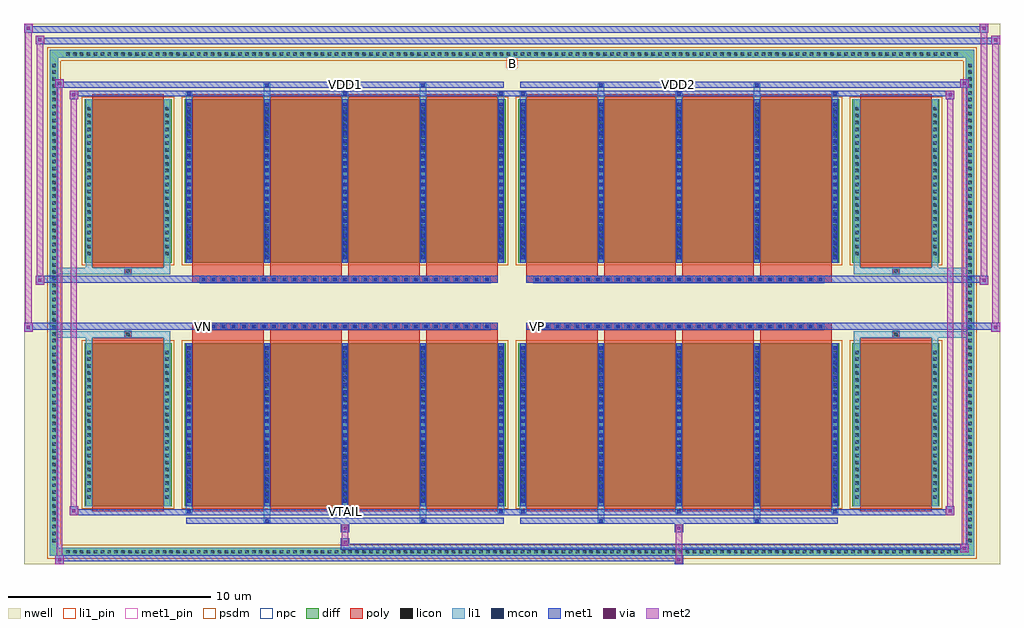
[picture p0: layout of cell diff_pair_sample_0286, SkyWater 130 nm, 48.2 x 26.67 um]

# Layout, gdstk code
import gdstk
lib = gdstk.Library(unit=1e-6, precision=5e-09)
def R(c, l, rs):  # rectangles x0, y0, x1, y1
    for r in rs: c.add(gdstk.rectangle(r[:2], r[2:], *l))
def A(c, l, x, y, w, h, nx, ny, dx, dy):  # array of equal rectangles
    R(c, l, [(x+i*dx, y+j*dy, x+i*dx+w, y+j*dy+h) for i in range(nx) for j in range(ny)])
def P(c, l, *ps):  # polygons
    for p in ps: c.add(gdstk.Polygon(p, *l))
nwell = (64, 20)
diff = (65, 20)
poly = (66, 20)
licon = (66, 44)
li1_pin = (67, 16)
li1 = (67, 20)
mcon = (67, 44)
met1_pin = (68, 16)
met1 = (68, 20)
via = (68, 44)
met2 = (69, 20)
psdm = (94, 20)
npc = (95, 20)

diff_pair_sample_0286 = lib.new_cell('diff_pair_sample_0286')
R(diff_pair_sample_0286, nwell, [(-24.1,-12.9,24.1,13.77), (-21.42,-11.09,-0.01,-0.795), (0.01,-11.09,21.42,-0.795), (-21.42,0.795,-0.01,11.09), (0.01,0.795,21.42,11.09)])
A(diff_pair_sample_0286, diff, -22.135, -12.5, 0.41, 0.41, 130, 2, 0.34, 24.59)
A(diff_pair_sample_0286, diff, -22.83, -11.935, 0.41, 0.41, 1, 70, 0, 0.34)
A(diff_pair_sample_0286, diff, 22.42, -11.935, 0.41, 0.41, 1, 70, 0, 0.34)
R(diff_pair_sample_0286, diff, [(-22.135,-12.5,22.135,-12.09), (-22.83,-11.935,-22.42,11.935), (22.42,-11.935,22.83,11.935), (-21.11,-10.045,-16.81,-1.985), (-16.17,-10.045,-0.32,-1.985), (0.32,-10.045,16.17,-1.985), (16.81,-10.045,21.11,-1.985), (-21.11,1.985,-16.81,10.045), (-16.17,1.985,-0.32,10.045), (0.32,1.985,16.17,10.045), (16.81,1.985,21.11,10.045), (-22.135,12.09,22.135,12.5)])
P(diff_pair_sample_0286, diff, [(22.83,12.5),(-22.83,12.5),(-22.83,-12.09),(-22.42,-12.09),(-22.42,12.09),(22.42,12.09),(22.42,-12.09),(-22.42,-12.09),(-22.83,-12.09),(-22.83,-12.5),(22.83,-12.5)])
A(diff_pair_sample_0286, poly, -15.78, -10.295, 3.52, 8.56, 4, 2, 3.85, 12.03)
A(diff_pair_sample_0286, poly, 0.71, -10.295, 3.52, 8.56, 4, 2, 3.85, 12.03)
A(diff_pair_sample_0286, poly, -15.78, -1.735, 3.52, 0.41, 4, 2, 3.85, 3.06)
A(diff_pair_sample_0286, poly, 0.71, -1.735, 3.52, 0.41, 4, 2, 3.85, 3.06)
A(diff_pair_sample_0286, poly, -15.41, -1.325, 0.33, 0.33, 29, 2, 0.5, 2.32)
A(diff_pair_sample_0286, poly, 1.08, -1.325, 0.33, 0.33, 29, 2, 0.5, 2.32)
R(diff_pair_sample_0286, poly, [(-20.72,-10.295,-17.2,-1.735), (17.2,-10.295,20.72,-1.735), (-19.125,-1.735,-18.795,-1.405), (-19.125,-1.735,-18.795,-1.405), (18.795,-1.735,19.125,-1.405), (18.795,-1.735,19.125,-1.405), (-15.78,-1.325,-0.71,-0.995), (0.71,-1.325,15.78,-0.995), (-15.78,0.995,-0.71,1.325), (0.71,0.995,15.78,1.325), (-19.125,1.405,-18.795,1.735), (-19.125,1.405,-18.795,1.735), (18.795,1.405,19.125,1.735), (18.795,1.405,19.125,1.735), (-20.72,1.735,-17.2,10.295), (17.2,1.735,20.72,10.295)])
A(diff_pair_sample_0286, licon, -22.015, -12.38, 0.17, 0.17, 130, 2, 0.34, 24.59)
A(diff_pair_sample_0286, licon, -22.71, -11.815, 0.17, 0.17, 1, 70, 0, 0.34)
A(diff_pair_sample_0286, licon, 22.54, -11.815, 0.17, 0.17, 1, 70, 0, 0.34)
A(diff_pair_sample_0286, licon, -20.97, -9.67, 0.17, 0.17, 1, 22, 0, 0.34)
A(diff_pair_sample_0286, licon, -17.12, -9.67, 0.17, 0.17, 1, 22, 0, 0.34)
A(diff_pair_sample_0286, licon, -16.03, -9.67, 0.17, 0.17, 5, 22, 3.85, 0.34)
A(diff_pair_sample_0286, licon, 0.46, -9.67, 0.17, 0.17, 5, 22, 3.85, 0.34)
A(diff_pair_sample_0286, licon, 16.95, -9.67, 0.17, 0.17, 1, 22, 0, 0.34)
A(diff_pair_sample_0286, licon, 20.8, -9.67, 0.17, 0.17, 1, 22, 0, 0.34)
A(diff_pair_sample_0286, licon, -15.33, -1.245, 0.17, 0.17, 29, 2, 0.5, 2.32)
A(diff_pair_sample_0286, licon, 1.16, -1.245, 0.17, 0.17, 29, 2, 0.5, 2.32)
A(diff_pair_sample_0286, licon, -20.97, 2.36, 0.17, 0.17, 1, 22, 0, 0.34)
A(diff_pair_sample_0286, licon, -17.12, 2.36, 0.17, 0.17, 1, 22, 0, 0.34)
A(diff_pair_sample_0286, licon, -16.03, 2.36, 0.17, 0.17, 5, 22, 3.85, 0.34)
A(diff_pair_sample_0286, licon, 0.46, 2.36, 0.17, 0.17, 5, 22, 3.85, 0.34)
A(diff_pair_sample_0286, licon, 16.95, 2.36, 0.17, 0.17, 1, 22, 0, 0.34)
A(diff_pair_sample_0286, licon, 20.8, 2.36, 0.17, 0.17, 1, 22, 0, 0.34)
R(diff_pair_sample_0286, licon, [(-19.045,-1.655,-18.875,-1.485), (18.875,-1.655,19.045,-1.485), (-19.045,1.485,-18.875,1.655), (18.875,1.485,19.045,1.655)])
R(diff_pair_sample_0286, li1_pin, [(-0.25,11.59,0.25,12.09)])
A(diff_pair_sample_0286, li1, -22.095, -12.46, 0.33, 0.33, 130, 2, 0.34, 24.59)
A(diff_pair_sample_0286, li1, -22.79, -11.895, 0.33, 0.33, 1, 70, 0, 0.34)
A(diff_pair_sample_0286, li1, 22.46, -11.895, 0.33, 0.33, 1, 70, 0, 0.34)
A(diff_pair_sample_0286, li1, -16.11, -10.42, 0.33, 0.375, 3, 2, 7.7, 20.465)
A(diff_pair_sample_0286, li1, -16.03, -10.42, 0.17, 0.17, 3, 2, 7.7, 20.67)
A(diff_pair_sample_0286, li1, 0.38, -10.42, 0.33, 0.375, 3, 2, 7.7, 20.465)
A(diff_pair_sample_0286, li1, 0.46, -10.42, 0.17, 0.17, 3, 2, 7.7, 20.67)
A(diff_pair_sample_0286, li1, -16.11, -10.045, 0.33, 8.06, 5, 2, 3.85, 12.03)
A(diff_pair_sample_0286, li1, 0.38, -10.045, 0.33, 8.06, 5, 2, 3.85, 12.03)
A(diff_pair_sample_0286, li1, -16.03, -9.88, 0.17, 0.17, 5, 22, 3.85, 0.36)
A(diff_pair_sample_0286, li1, -16.03, -9.88, 0.17, 7.73, 5, 2, 3.85, 12.03)
A(diff_pair_sample_0286, li1, 0.46, -9.88, 0.17, 0.17, 5, 22, 3.85, 0.36)
A(diff_pair_sample_0286, li1, 0.46, -9.88, 0.17, 7.73, 5, 2, 3.85, 12.03)
A(diff_pair_sample_0286, li1, -21.05, -9.75, 0.33, 0.33, 1, 22, 0, 0.34)
A(diff_pair_sample_0286, li1, -17.2, -9.75, 0.33, 0.33, 1, 22, 0, 0.34)
A(diff_pair_sample_0286, li1, -16.11, -9.75, 0.33, 0.33, 5, 22, 3.85, 0.34)
A(diff_pair_sample_0286, li1, 0.38, -9.75, 0.33, 0.33, 5, 22, 3.85, 0.34)
A(diff_pair_sample_0286, li1, 16.87, -9.75, 0.33, 0.33, 1, 22, 0, 0.34)
A(diff_pair_sample_0286, li1, 20.72, -9.75, 0.33, 0.33, 1, 22, 0, 0.34)
A(diff_pair_sample_0286, li1, -15.41, -1.325, 0.33, 0.33, 29, 2, 0.5, 2.32)
A(diff_pair_sample_0286, li1, 1.08, -1.325, 0.33, 0.33, 29, 2, 0.5, 2.32)
A(diff_pair_sample_0286, li1, -16.03, 2.15, 0.17, 0.17, 5, 22, 3.85, 0.36)
A(diff_pair_sample_0286, li1, 0.46, 2.15, 0.17, 0.17, 5, 22, 3.85, 0.36)
A(diff_pair_sample_0286, li1, -21.05, 2.28, 0.33, 0.33, 1, 22, 0, 0.34)
A(diff_pair_sample_0286, li1, -17.2, 2.28, 0.33, 0.33, 1, 22, 0, 0.34)
A(diff_pair_sample_0286, li1, -16.11, 2.28, 0.33, 0.33, 5, 22, 3.85, 0.34)
A(diff_pair_sample_0286, li1, 0.38, 2.28, 0.33, 0.33, 5, 22, 3.85, 0.34)
A(diff_pair_sample_0286, li1, 16.87, 2.28, 0.33, 0.33, 1, 22, 0, 0.34)
A(diff_pair_sample_0286, li1, 20.72, 2.28, 0.33, 0.33, 1, 22, 0, 0.34)
R(diff_pair_sample_0286, li1, [(-22.83,-12.5,-22.42,-12.09), (-22.83,-12.5,-22.42,-12.09), (-22.42,-12.5,22.42,-12.09), (22.42,-12.5,22.83,-12.09), (22.42,-12.5,22.83,-12.09), (-22.83,-12.09,-22.42,12.09), (22.42,-12.09,22.83,12.09), (-12.26,-10.85,-11.93,-10.045), (-12.18,-10.85,-12.01,-10.68), (-4.56,-10.85,-4.23,-10.045), (-4.48,-10.85,-4.31,-10.68), (4.23,-10.85,4.56,-10.045), (4.31,-10.85,4.48,-10.68), (11.93,-10.85,12.26,-10.045), (12.01,-10.85,12.18,-10.68), (-21.05,-10.045,-20.72,-1.985), (-17.2,-10.045,-16.87,-1.985), (16.87,-10.045,17.2,-1.985), (20.72,-10.045,21.05,-1.985), (-21.05,-1.985,-20.72,-1.405), (-17.2,-1.985,-16.87,-1.405), (16.87,-1.985,17.2,-1.405), (20.72,-1.985,21.05,-1.405), (-22.83,-1.735,-19.125,-1.405), (-21.05,-1.735,-19.125,-1.405), (-19.125,-1.735,-18.795,-1.405), (-18.795,-1.735,-16.87,-1.405), (16.87,-1.735,18.795,-1.405), (18.795,-1.735,19.125,-1.405), (18.795,-1.735,22.83,-1.405), (19.125,-1.735,21.05,-1.405), (-22.83,1.405,-19.125,1.735), (-21.05,1.405,-19.125,1.735), (-21.05,1.405,-20.72,1.985), (-19.125,1.405,-18.795,1.735), (-18.795,1.405,-16.87,1.735), (-17.2,1.405,-16.87,1.985), (16.87,1.405,18.795,1.735), (16.87,1.405,17.2,1.985), (18.795,1.405,19.125,1.735), (18.795,1.405,22.83,1.735), (19.125,1.405,21.05,1.735), (20.72,1.405,21.05,1.985), (-21.05,1.985,-20.72,10.045), (-17.2,1.985,-16.87,10.045), (16.87,1.985,17.2,10.045), (20.72,1.985,21.05,10.045), (-12.26,10.045,-11.93,10.85), (-4.56,10.045,-4.23,10.85), (4.23,10.045,4.56,10.85), (11.93,10.045,12.26,10.85), (-12.18,10.68,-12.01,10.85), (-4.48,10.68,-4.31,10.85), (4.31,10.68,4.48,10.85), (12.01,10.68,12.18,10.85), (-22.83,12.09,-22.42,12.5), (-22.83,12.09,-22.42,12.5), (-22.42,12.09,22.42,12.5), (22.42,12.09,22.83,12.5), (22.42,12.09,22.83,12.5)])
A(diff_pair_sample_0286, mcon, -16.03, -10.42, 0.17, 0.17, 3, 2, 7.7, 20.67)
A(diff_pair_sample_0286, mcon, 0.46, -10.42, 0.17, 0.17, 3, 2, 7.7, 20.67)
A(diff_pair_sample_0286, mcon, -16.03, -9.88, 0.17, 0.17, 5, 22, 3.85, 0.36)
A(diff_pair_sample_0286, mcon, 0.46, -9.88, 0.17, 0.17, 5, 22, 3.85, 0.36)
A(diff_pair_sample_0286, mcon, -15.33, -1.245, 0.17, 0.17, 29, 2, 0.5, 2.32)
A(diff_pair_sample_0286, mcon, 1.16, -1.245, 0.17, 0.17, 29, 2, 0.5, 2.32)
A(diff_pair_sample_0286, mcon, -16.03, 2.15, 0.17, 0.17, 5, 22, 3.85, 0.36)
A(diff_pair_sample_0286, mcon, 0.46, 2.15, 0.17, 0.17, 5, 22, 3.85, 0.36)
R(diff_pair_sample_0286, mcon, [(-12.18,-10.85,-12.01,-10.68), (-4.48,-10.85,-4.31,-10.68), (4.31,-10.85,4.48,-10.68), (12.01,-10.85,12.18,-10.68), (-12.18,10.68,-12.01,10.85), (-4.48,10.68,-4.31,10.85), (4.31,10.68,4.48,10.85), (12.01,10.68,12.18,10.85)])
R(diff_pair_sample_0286, met1_pin, [(-8.38,-10.46,-8.11,-10.19), (-15.38,-1.285,-15.11,-1.015), (1.11,-1.285,1.38,-1.015), (-8.38,10.64,-8.11,10.91), (8.11,10.64,8.38,10.91)])
A(diff_pair_sample_0286, met1, -16.09, -10.48, 0.29, 0.29, 3, 2, 7.7, 20.67)
A(diff_pair_sample_0286, met1, 0.4, -10.48, 0.29, 0.29, 3, 2, 7.7, 20.67)
A(diff_pair_sample_0286, met1, -16.09, -10.045, 0.29, 8.06, 5, 2, 3.85, 12.03)
A(diff_pair_sample_0286, met1, 0.4, -10.045, 0.29, 8.06, 5, 2, 3.85, 12.03)
A(diff_pair_sample_0286, met1, -16.09, -9.94, 0.29, 0.29, 5, 22, 3.85, 0.36)
A(diff_pair_sample_0286, met1, 0.4, -9.94, 0.29, 0.29, 5, 22, 3.85, 0.36)
A(diff_pair_sample_0286, met1, -15.39, -1.305, 0.29, 0.29, 29, 2, 0.5, 2.32)
A(diff_pair_sample_0286, met1, 1.1, -1.305, 0.29, 0.29, 29, 2, 0.5, 2.32)
A(diff_pair_sample_0286, met1, -16.09, 2.09, 0.29, 0.29, 5, 22, 3.85, 0.36)
A(diff_pair_sample_0286, met1, 0.4, 2.09, 0.29, 0.29, 5, 22, 3.85, 0.36)
R(diff_pair_sample_0286, met1, [(-22.56,-12.9,-22.13,-12.47), (8.03,-12.9,8.46,-12.47), (-22.56,-12.76,8.46,-12.47), (22.13,-12.33,22.56,-11.9), (-8.46,-12.19,22.56,-11.9), (-8.46,-12.05,-8.03,-11.62), (-8.46,-11.34,-8.03,-10.91), (8.03,-11.34,8.46,-10.91), (-16.09,-10.91,-0.4,-10.62), (-12.24,-10.91,-11.95,-10.62), (-4.54,-10.91,-4.25,-10.62), (0.4,-10.91,16.09,-10.62), (4.25,-10.91,4.54,-10.62), (11.95,-10.91,12.24,-10.62), (-21.85,-10.48,-21.42,-10.05), (-21.85,-10.48,-16.09,-10.19), (-16.09,-10.48,-0.4,-10.19), (-0.4,-10.48,0.4,-10.19), (0.4,-10.48,16.09,-10.19), (16.09,-10.48,21.85,-10.19), (21.42,-10.48,21.85,-10.05), (-24.1,-1.425,-23.67,-0.995), (23.67,-1.425,24.1,-0.995), (-24.1,-1.325,-0.71,-0.995), (-15.78,-1.325,-0.71,-0.995), (0.71,-1.325,15.78,-0.995), (0.71,-1.325,24.1,-0.995), (-23.53,0.895,-23.1,1.325), (23.1,0.895,23.53,1.325), (-23.53,0.995,-15.78,1.325), (-15.78,0.995,-0.71,1.325), (0.71,0.995,15.78,1.325), (15.78,0.995,23.53,1.325), (-21.85,10.05,-21.42,10.48), (21.42,10.05,21.85,10.48), (-21.85,10.19,-16.09,10.48), (-16.09,10.19,-0.4,10.48), (-0.4,10.19,0.4,10.48), (0.4,10.19,16.09,10.48), (16.09,10.19,21.85,10.48), (-22.56,10.62,-22.13,11.05), (-22.56,10.62,-16.09,10.91), (-16.09,10.62,-0.4,10.91), (-12.24,10.62,-11.95,10.91), (-4.54,10.62,-4.25,10.91), (0.4,10.62,16.09,10.91), (4.25,10.62,4.54,10.91), (11.95,10.62,12.24,10.91), (16.09,10.62,22.56,10.91), (22.13,10.62,22.56,11.05), (-23.53,12.77,-23.1,13.2), (-23.53,12.77,-21.42,13.1), (-21.42,12.77,21.42,13.1), (21.42,12.77,24.1,13.1), (23.67,12.77,24.1,13.2), (-24.1,13.34,-23.67,13.77), (-24.1,13.34,-21.42,13.67), (-21.42,13.34,21.42,13.67), (21.42,13.34,23.53,13.67), (23.1,13.34,23.53,13.77)])
R(diff_pair_sample_0286, via, [(-22.42,-12.76,-22.27,-12.61), (8.17,-12.76,8.32,-12.61), (22.27,-12.19,22.42,-12.04), (-8.32,-11.91,-8.17,-11.76), (-8.32,-11.2,-8.17,-11.05), (8.17,-11.2,8.32,-11.05), (-21.71,-10.34,-21.56,-10.19), (21.56,-10.34,21.71,-10.19), (-23.96,-1.285,-23.81,-1.135), (23.81,-1.285,23.96,-1.135), (-23.39,1.035,-23.24,1.185), (23.24,1.035,23.39,1.185), (-21.71,10.19,-21.56,10.34), (21.56,10.19,21.71,10.34), (-22.42,10.76,-22.27,10.91), (22.27,10.76,22.42,10.91), (-23.39,12.91,-23.24,13.06), (23.81,12.91,23.96,13.06), (-23.96,13.48,-23.81,13.63), (23.24,13.48,23.39,13.63)])
R(diff_pair_sample_0286, met2, [(-22.56,-12.9,-22.13,-12.47), (-22.49,-12.9,-22.2,11.05), (-22.2,-12.9,-22.13,-12.47), (-22.51,-12.85,-22.18,-12.52), (8.08,-12.85,8.41,-12.52), (8.08,-12.52,8.41,-11.29), (22.13,-12.33,22.56,-11.9), (22.2,-12.33,22.49,11.05), (22.49,-12.33,22.56,-11.9), (22.18,-12.28,22.51,-11.95), (-8.41,-12,-8.08,-11.67), (-8.41,-11.67,-8.08,-11.29), (-8.41,-11.29,-8.08,-10.96), (8.08,-11.29,8.41,-10.96), (-21.85,-10.48,-21.42,-10.05), (-21.78,-10.48,-21.49,10.48), (-21.49,-10.48,-21.42,-10.05), (21.42,-10.48,21.85,-10.05), (21.49,-10.48,21.78,10.48), (21.78,-10.48,21.85,-10.05), (-21.8,-10.43,-21.47,-10.1), (21.47,-10.43,21.8,-10.1), (-24.1,-1.425,-23.67,-0.995), (-24.05,-1.425,-23.72,13.77), (-23.72,-1.425,-23.67,-0.995), (23.67,-1.425,24.1,-0.995), (23.72,-1.425,24.05,13.2), (24.05,-1.425,24.1,-0.995), (-24.05,-1.375,-23.72,-1.045), (23.72,-1.375,24.05,-1.045), (-23.53,0.895,-23.1,1.325), (-23.48,0.895,-23.15,13.2), (-23.15,0.895,-23.1,1.325), (23.1,0.895,23.53,1.325), (23.15,0.895,23.48,13.77), (23.48,0.895,23.53,1.325), (-23.48,0.945,-23.15,1.275), (23.15,0.945,23.48,1.275), (-21.85,10.05,-21.42,10.48), (-21.49,10.05,-21.42,10.48), (21.42,10.05,21.85,10.48), (21.78,10.05,21.85,10.48), (-21.8,10.1,-21.47,10.43), (21.47,10.1,21.8,10.43), (-22.56,10.62,-22.13,11.05), (-22.2,10.62,-22.13,11.05), (22.13,10.62,22.56,11.05), (22.49,10.62,22.56,11.05), (-22.51,10.67,-22.18,11), (22.18,10.67,22.51,11), (-23.53,12.77,-23.1,13.2), (-23.15,12.77,-23.1,13.2), (23.67,12.77,24.1,13.2), (24.05,12.77,24.1,13.2), (-23.48,12.82,-23.15,13.15), (23.72,12.82,24.05,13.15), (-24.1,13.34,-23.67,13.77), (-23.72,13.34,-23.67,13.77), (23.1,13.34,23.53,13.77), (23.48,13.34,23.53,13.77), (-24.05,13.39,-23.72,13.72), (23.15,13.39,23.48,13.72)])
R(diff_pair_sample_0286, psdm, [(-21.24,-10.175,-16.68,-1.855), (-16.3,-10.175,-0.19,-1.855), (0.19,-10.175,16.3,-1.855), (16.68,-10.175,21.24,-1.855), (-21.24,1.855,-16.68,10.175), (-16.3,1.855,-0.19,10.175), (0.19,1.855,16.3,10.175), (16.68,1.855,21.24,10.175)])
P(diff_pair_sample_0286, psdm, [(22.96,12.63),(-22.96,12.63),(-22.96,-11.96),(-22.29,-11.96),(-22.29,11.96),(22.29,11.96),(22.29,-11.96),(-22.29,-11.96),(-22.96,-11.96),(-22.96,-12.63),(22.96,-12.63)])
A(diff_pair_sample_0286, npc, -15.43, -1.345, 0.37, 0.37, 29, 2, 0.5, 2.32)
A(diff_pair_sample_0286, npc, 1.06, -1.345, 0.37, 0.37, 29, 2, 0.5, 2.32)
R(diff_pair_sample_0286, npc, [(-19.145,-1.755,-18.775,-1.385), (18.775,-1.755,19.145,-1.385), (-15.43,-1.345,-14.56,-0.975), (-15.43,-1.345,-14.56,-0.975), (-14.93,-1.345,-14.06,-0.975), (-14.93,-1.345,-14.06,-0.975), (-14.43,-1.345,-13.56,-0.975), (-14.43,-1.345,-13.56,-0.975), (-13.93,-1.345,-13.06,-0.975), (-13.93,-1.345,-13.06,-0.975), (-13.43,-1.345,-12.56,-0.975), (-13.43,-1.345,-12.56,-0.975), (-12.93,-1.345,-12.06,-0.975), (-12.93,-1.345,-12.06,-0.975), (-12.43,-1.345,-11.56,-0.975), (-12.43,-1.345,-11.56,-0.975), (-11.93,-1.345,-11.06,-0.975), (-11.93,-1.345,-11.06,-0.975), (-11.43,-1.345,-10.56,-0.975), (-11.43,-1.345,-10.56,-0.975), (-10.93,-1.345,-10.06,-0.975), (-10.93,-1.345,-10.06,-0.975), (-10.43,-1.345,-9.56,-0.975), (-10.43,-1.345,-9.56,-0.975), (-9.93,-1.345,-9.06,-0.975), (-9.93,-1.345,-9.06,-0.975), (-9.43,-1.345,-8.56,-0.975), (-9.43,-1.345,-8.56,-0.975), (-8.93,-1.345,-8.06,-0.975), (-8.93,-1.345,-8.06,-0.975), (-8.43,-1.345,-7.56,-0.975), (-8.43,-1.345,-7.56,-0.975), (-7.93,-1.345,-7.06,-0.975), (-7.93,-1.345,-7.06,-0.975), (-7.43,-1.345,-6.56,-0.975), (-7.43,-1.345,-6.56,-0.975), (-6.93,-1.345,-6.06,-0.975), (-6.93,-1.345,-6.06,-0.975), (-6.43,-1.345,-5.56,-0.975), (-6.43,-1.345,-5.56,-0.975), (-5.93,-1.345,-5.06,-0.975), (-5.93,-1.345,-5.06,-0.975), (-5.43,-1.345,-4.56,-0.975), (-5.43,-1.345,-4.56,-0.975), (-4.93,-1.345,-4.06,-0.975), (-4.93,-1.345,-4.06,-0.975), (-4.43,-1.345,-3.56,-0.975), (-4.43,-1.345,-3.56,-0.975), (-3.93,-1.345,-3.06,-0.975), (-3.93,-1.345,-3.06,-0.975), (-3.43,-1.345,-2.56,-0.975), (-3.43,-1.345,-2.56,-0.975), (-2.93,-1.345,-2.06,-0.975), (-2.93,-1.345,-2.06,-0.975), (-2.43,-1.345,-1.56,-0.975), (-2.43,-1.345,-1.56,-0.975), (-1.93,-1.345,-1.06,-0.975), (-1.93,-1.345,-1.06,-0.975), (1.06,-1.345,1.93,-0.975), (1.06,-1.345,1.93,-0.975), (1.56,-1.345,2.43,-0.975), (1.56,-1.345,2.43,-0.975), (2.06,-1.345,2.93,-0.975), (2.06,-1.345,2.93,-0.975), (2.56,-1.345,3.43,-0.975), (2.56,-1.345,3.43,-0.975), (3.06,-1.345,3.93,-0.975), (3.06,-1.345,3.93,-0.975), (3.56,-1.345,4.43,-0.975), (3.56,-1.345,4.43,-0.975), (4.06,-1.345,4.93,-0.975), (4.06,-1.345,4.93,-0.975), (4.56,-1.345,5.43,-0.975), (4.56,-1.345,5.43,-0.975), (5.06,-1.345,5.93,-0.975), (5.06,-1.345,5.93,-0.975), (5.56,-1.345,6.43,-0.975), (5.56,-1.345,6.43,-0.975), (6.06,-1.345,6.93,-0.975), (6.06,-1.345,6.93,-0.975), (6.56,-1.345,7.43,-0.975), (6.56,-1.345,7.43,-0.975), (7.06,-1.345,7.93,-0.975), (7.06,-1.345,7.93,-0.975), (7.56,-1.345,8.43,-0.975), (7.56,-1.345,8.43,-0.975), (8.06,-1.345,8.93,-0.975), (8.06,-1.345,8.93,-0.975), (8.56,-1.345,9.43,-0.975), (8.56,-1.345,9.43,-0.975), (9.06,-1.345,9.93,-0.975), (9.06,-1.345,9.93,-0.975), (9.56,-1.345,10.43,-0.975), (9.56,-1.345,10.43,-0.975), (10.06,-1.345,10.93,-0.975), (10.06,-1.345,10.93,-0.975), (10.56,-1.345,11.43,-0.975), (10.56,-1.345,11.43,-0.975), (11.06,-1.345,11.93,-0.975), (11.06,-1.345,11.93,-0.975), (11.56,-1.345,12.43,-0.975), (11.56,-1.345,12.43,-0.975), (12.06,-1.345,12.93,-0.975), (12.06,-1.345,12.93,-0.975), (12.56,-1.345,13.43,-0.975), (12.56,-1.345,13.43,-0.975), (13.06,-1.345,13.93,-0.975), (13.06,-1.345,13.93,-0.975), (13.56,-1.345,14.43,-0.975), (13.56,-1.345,14.43,-0.975), (14.06,-1.345,14.93,-0.975), (14.06,-1.345,14.93,-0.975), (14.56,-1.345,15.43,-0.975), (14.56,-1.345,15.43,-0.975), (-15.43,0.975,-14.56,1.345), (-15.43,0.975,-14.56,1.345), (-14.93,0.975,-14.06,1.345), (-14.93,0.975,-14.06,1.345), (-14.43,0.975,-13.56,1.345), (-14.43,0.975,-13.56,1.345), (-13.93,0.975,-13.06,1.345), (-13.93,0.975,-13.06,1.345), (-13.43,0.975,-12.56,1.345), (-13.43,0.975,-12.56,1.345), (-12.93,0.975,-12.06,1.345), (-12.93,0.975,-12.06,1.345), (-12.43,0.975,-11.56,1.345), (-12.43,0.975,-11.56,1.345), (-11.93,0.975,-11.06,1.345), (-11.93,0.975,-11.06,1.345), (-11.43,0.975,-10.56,1.345), (-11.43,0.975,-10.56,1.345), (-10.93,0.975,-10.06,1.345), (-10.93,0.975,-10.06,1.345), (-10.43,0.975,-9.56,1.345), (-10.43,0.975,-9.56,1.345), (-9.93,0.975,-9.06,1.345), (-9.93,0.975,-9.06,1.345), (-9.43,0.975,-8.56,1.345), (-9.43,0.975,-8.56,1.345), (-8.93,0.975,-8.06,1.345), (-8.93,0.975,-8.06,1.345), (-8.43,0.975,-7.56,1.345), (-8.43,0.975,-7.56,1.345), (-7.93,0.975,-7.06,1.345), (-7.93,0.975,-7.06,1.345), (-7.43,0.975,-6.56,1.345), (-7.43,0.975,-6.56,1.345), (-6.93,0.975,-6.06,1.345), (-6.93,0.975,-6.06,1.345), (-6.43,0.975,-5.56,1.345), (-6.43,0.975,-5.56,1.345), (-5.93,0.975,-5.06,1.345), (-5.93,0.975,-5.06,1.345), (-5.43,0.975,-4.56,1.345), (-5.43,0.975,-4.56,1.345), (-4.93,0.975,-4.06,1.345), (-4.93,0.975,-4.06,1.345), (-4.43,0.975,-3.56,1.345), (-4.43,0.975,-3.56,1.345), (-3.93,0.975,-3.06,1.345), (-3.93,0.975,-3.06,1.345), (-3.43,0.975,-2.56,1.345), (-3.43,0.975,-2.56,1.345), (-2.93,0.975,-2.06,1.345), (-2.93,0.975,-2.06,1.345), (-2.43,0.975,-1.56,1.345), (-2.43,0.975,-1.56,1.345), (-1.93,0.975,-1.06,1.345), (-1.93,0.975,-1.06,1.345), (1.06,0.975,1.93,1.345), (1.06,0.975,1.93,1.345), (1.56,0.975,2.43,1.345), (1.56,0.975,2.43,1.345), (2.06,0.975,2.93,1.345), (2.06,0.975,2.93,1.345), (2.56,0.975,3.43,1.345), (2.56,0.975,3.43,1.345), (3.06,0.975,3.93,1.345), (3.06,0.975,3.93,1.345), (3.56,0.975,4.43,1.345), (3.56,0.975,4.43,1.345), (4.06,0.975,4.93,1.345), (4.06,0.975,4.93,1.345), (4.56,0.975,5.43,1.345), (4.56,0.975,5.43,1.345), (5.06,0.975,5.93,1.345), (5.06,0.975,5.93,1.345), (5.56,0.975,6.43,1.345), (5.56,0.975,6.43,1.345), (6.06,0.975,6.93,1.345), (6.06,0.975,6.93,1.345), (6.56,0.975,7.43,1.345), (6.56,0.975,7.43,1.345), (7.06,0.975,7.93,1.345), (7.06,0.975,7.93,1.345), (7.56,0.975,8.43,1.345), (7.56,0.975,8.43,1.345), (8.06,0.975,8.93,1.345), (8.06,0.975,8.93,1.345), (8.56,0.975,9.43,1.345), (8.56,0.975,9.43,1.345), (9.06,0.975,9.93,1.345), (9.06,0.975,9.93,1.345), (9.56,0.975,10.43,1.345), (9.56,0.975,10.43,1.345), (10.06,0.975,10.93,1.345), (10.06,0.975,10.93,1.345), (10.56,0.975,11.43,1.345), (10.56,0.975,11.43,1.345), (11.06,0.975,11.93,1.345), (11.06,0.975,11.93,1.345), (11.56,0.975,12.43,1.345), (11.56,0.975,12.43,1.345), (12.06,0.975,12.93,1.345), (12.06,0.975,12.93,1.345), (12.56,0.975,13.43,1.345), (12.56,0.975,13.43,1.345), (13.06,0.975,13.93,1.345), (13.06,0.975,13.93,1.345), (13.56,0.975,14.43,1.345), (13.56,0.975,14.43,1.345), (14.06,0.975,14.93,1.345), (14.06,0.975,14.93,1.345), (14.56,0.975,15.43,1.345), (14.56,0.975,15.43,1.345), (-19.145,1.385,-18.775,1.755), (18.775,1.385,19.145,1.755)])
diff_pair_sample_0286.add(gdstk.Label('VTAIL', (-8.245,-10.325), layer=68, texttype=5))
diff_pair_sample_0286.add(gdstk.Label('VN', (-15.245,-1.15), layer=68, texttype=5))
diff_pair_sample_0286.add(gdstk.Label('VP', (1.245,-1.15), layer=68, texttype=5))
diff_pair_sample_0286.add(gdstk.Label('B', (0,11.84), layer=67, texttype=5))
diff_pair_sample_0286.add(gdstk.Label('VDD2', (8.245,10.775), layer=68, texttype=5))
diff_pair_sample_0286.add(gdstk.Label('VDD1', (-8.245,10.775), layer=68, texttype=5))

lib.write_gds('diff_pair_sample_0286.gds')
